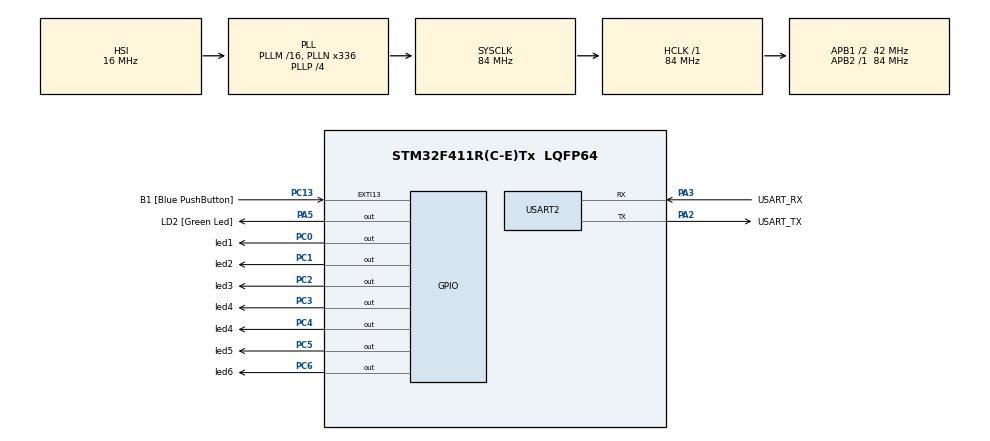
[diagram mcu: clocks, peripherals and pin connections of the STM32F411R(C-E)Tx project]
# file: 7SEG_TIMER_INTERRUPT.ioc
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Mcu.Family=STM32F4
Mcu.Name=STM32F411R(C-E)Tx
Mcu.Package=LQFP64
NVIC.PriorityGroup=NVIC_PRIORITYGROUP_0
NVIC.TIM2_IRQn=true\:0\:0\:false\:false\:true\:true\:true\:true
PA13.GPIO_Label=TMS
PA13.Mode=Serial_Wire
PA13.Signal=SYS_JTMS-SWDIO
PA14.GPIO_Label=TCK
PA14.Mode=Serial_Wire
PA14.Signal=SYS_JTCK-SWCLK
PA2.GPIO_Label=USART_TX
PA2.Mode=Asynchronous
PA2.Signal=USART2_TX
PA3.GPIO_Label=USART_RX
PA3.Mode=Asynchronous
PA3.Signal=USART2_RX
PA5.GPIO_Label=LD2 [Green Led]
PA5.Signal=GPIO_Output
PB3.GPIO_Label=SWO
PB3.Signal=SYS_JTDO-SWO
PC0.GPIO_Label=led1
PC0.Signal=GPIO_Output
PC1.GPIO_Label=led2
PC1.Signal=GPIO_Output
PC13-ANTI_TAMP.GPIO_Label=B1 [Blue PushButton]
PC13-ANTI_TAMP.GPIO_ModeDefaultEXTI=GPIO_MODE_IT_FALLING
PC13-ANTI_TAMP.Signal=GPXTI13
PC14-OSC32_IN.Mode=LSE-External-Oscillator
PC14-OSC32_IN.Signal=RCC_OSC32_IN
PC15-OSC32_OUT.Mode=LSE-External-Oscillator
PC15-OSC32_OUT.Signal=RCC_OSC32_OUT
PC2.GPIO_Label=led3
PC2.Signal=GPIO_Output
PC3.GPIO_Label=led4
PC3.Signal=GPIO_Output
PC4.GPIO_Label=led4
PC4.Signal=GPIO_Output
PC5.GPIO_Label=led5
PC5.Signal=GPIO_Output
PC6.GPIO_Label=led6
PC6.Signal=GPIO_Output
PH0\ -\ OSC_IN.Mode=HSE-External-Clock-Source
PH0\ -\ OSC_IN.Signal=RCC_OSC_IN
PH1\ -\ OSC_OUT.Mode=HSE-External-Clock-Source
PH1\ -\ OSC_OUT.Signal=RCC_OSC_OUT
ProjectManager.HeapSize=0x200
ProjectManager.StackSize=0x400
ProjectManager.TargetToolchain=STM32CubeIDE
RCC.48MHZClocksFreq_Value=84000000
RCC.AHBFreq_Value=84000000
RCC.APB1CLKDivider=RCC_HCLK_DIV2
RCC.APB1Freq_Value=42000000
RCC.APB1TimFreq_Value=84000000
RCC.APB2Freq_Value=84000000
RCC.APB2TimFreq_Value=84000000
RCC.CortexFreq_Value=84000000
RCC.FLatency-AdvancedSettings=FLASH_LATENCY_2
RCC.HCLKFreq_Value=84000000
RCC.HSE_VALUE=8000000
RCC.HSI_VALUE=16000000
RCC.PLLN=336
RCC.PLLP=RCC_PLLP_DIV4
RCC.SYSCLKFreq_VALUE=84000000
RCC.SYSCLKSource=RCC_SYSCLKSOURCE_PLLCLK
RCC.VCOOutputFreq_Value=336000000
USART2.VirtualMode=VM_ASYNC
VP_TIM2_VS_ClockSourceINT.Mode=Internal
board=NUCLEO-F411RE

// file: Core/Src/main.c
/* USER CODE BEGIN Header */
/**
  ******************************************************************************
  * @file           : main.c
  * @brief          : Main program body
  ******************************************************************************
  * @attention
  *
  * Copyright (c) 2024 STMicroelectronics.
  * All rights reserved.
  *
  * This software is licensed under terms that can be found in the LICENSE file
  * in the root directory of this software component.
  * If no LICENSE file comes with this software, it is provided AS-IS.
  *
  ******************************************************************************
  */
/* USER CODE END Header */
#include "main.h"

TIM_HandleTypeDef htim2;
UART_HandleTypeDef huart2;

/* USER CODE BEGIN PV */
volatile uint8_t current_number = 0;
static volatile uint32_t last_button_press_time = 0; // For debouncing
static const uint32_t DEBOUNCE_DELAY = 200; // 200 ms debounce delay

/* USER CODE END PV */

void SystemClock_Config(void);
static void MX_GPIO_Init(void);
static void MX_USART2_UART_Init(void);
static void MX_TIM2_Init(void);

/* USER CODE BEGIN 0 */

void display_number(uint8_t number) {
    // Adjust GPIO states to display the number on a 7-segment display
    // Update GPIO configuration here according to your hardware
	switch (number) {
	        case 0:
	            HAL_GPIO_WritePin(GPIOC, GPIO_PIN_0, RESET);
	            HAL_GPIO_WritePin(GPIOC, GPIO_PIN_1, RESET);
	            HAL_GPIO_WritePin(GPIOC, GPIO_PIN_2, RESET);
	            HAL_GPIO_WritePin(GPIOC, GPIO_PIN_3, RESET);
	            HAL_GPIO_WritePin(GPIOC, GPIO_PIN_4, RESET);
	            HAL_GPIO_WritePin(GPIOC, GPIO_PIN_5, RESET);
	            HAL_GPIO_WritePin(GPIOC, GPIO_PIN_6, SET);
	            break;
	        case 1:
	            HAL_GPIO_WritePin(GPIOC, GPIO_PIN_0, SET);
	            HAL_GPIO_WritePin(GPIOC, GPIO_PIN_1, RESET);
	            HAL_GPIO_WritePin(GPIOC, GPIO_PIN_2, RESET);
	            HAL_GPIO_WritePin(GPIOC, GPIO_PIN_3, SET);
	            HAL_GPIO_WritePin(GPIOC, GPIO_PIN_4, SET);
	            HAL_GPIO_WritePin(GPIOC, GPIO_PIN_5, SET);
	            HAL_GPIO_WritePin(GPIOC, GPIO_PIN_6, SET);
	            break;
	        case 2:
	            HAL_GPIO_WritePin(GPIOC, GPIO_PIN_0, RESET);
	            HAL_GPIO_WritePin(GPIOC, GPIO_PIN_1, RESET);
	            HAL_GPIO_WritePin(GPIOC, GPIO_PIN_2, SET);
	            HAL_GPIO_WritePin(GPIOC, GPIO_PIN_3, RESET);
	            HAL_GPIO_WritePin(GPIOC, GPIO_PIN_4, RESET);
	            HAL_GPIO_WritePin(GPIOC, GPIO_PIN_5, SET);
	            HAL_GPIO_WritePin(GPIOC, GPIO_PIN_6, RESET);
	            break;
	        case 3:
	            HAL_GPIO_WritePin(GPIOC, GPIO_PIN_0, RESET);
	            HAL_GPIO_WritePin(GPIOC, GPIO_PIN_1, RESET);
	            HAL_GPIO_WritePin(GPIOC, GPIO_PIN_2, RESET);
	            HAL_GPIO_WritePin(GPIOC, GPIO_PIN_3, RESET);
	            HAL_GPIO_WritePin(GPIOC, GPIO_PIN_4, SET);
	            HAL_GPIO_WritePin(GPIOC, GPIO_PIN_5, SET);
	            HAL_GPIO_WritePin(GPIOC, GPIO_PIN_6, RESET);
	            break;
	        case 4:
	            HAL_GPIO_WritePin(GPIOC, GPIO_PIN_0, SET);
	            HAL_GPIO_WritePin(GPIOC, GPIO_PIN_1, RESET);
	            HAL_GPIO_WritePin(GPIOC, GPIO_PIN_2, RESET);
	            HAL_GPIO_WritePin(GPIOC, GPIO_PIN_3, SET);
	            HAL_GPIO_WritePin(GPIOC, GPIO_PIN_4, SET);
	            HAL_GPIO_WritePin(GPIOC, GPIO_PIN_5, RESET);
	            HAL_GPIO_WritePin(GPIOC, GPIO_PIN_6, RESET);
	            break;
	        case 5:
	            HAL_GPIO_WritePin(GPIOC, GPIO_PIN_0, RESET);
	            HAL_GPIO_WritePin(GPIOC, GPIO_PIN_1, SET);
	            HAL_GPIO_WritePin(GPIOC, GPIO_PIN_2, RESET);
	            HAL_GPIO_WritePin(GPIOC, GPIO_PIN_3, RESET);
	            HAL_GPIO_WritePin(GPIOC, GPIO_PIN_4, SET);
	            HAL_GPIO_WritePin(GPIOC, GPIO_PIN_5, RESET);
	            HAL_GPIO_WritePin(GPIOC, GPIO_PIN_6, RESET);
	            break;
	        case 6:
	            HAL_GPIO_WritePin(GPIOC, GPIO_PIN_0, RESET);
	            HAL_GPIO_WritePin(GPIOC, GPIO_PIN_1, SET);
	            HAL_GPIO_WritePin(GPIOC, GPIO_PIN_2, RESET);
	            HAL_GPIO_WritePin(GPIOC, GPIO_PIN_3, RESET);
	            HAL_GPIO_WritePin(GPIOC, GPIO_PIN_4, RESET);
	            HAL_GPIO_WritePin(GPIOC, GPIO_PIN_5, RESET);
	            HAL_GPIO_WritePin(GPIOC, GPIO_PIN_6, RESET);
	            break;
	        case 7:
	            HAL_GPIO_WritePin(GPIOC, GPIO_PIN_0, RESET);
	            HAL_GPIO_WritePin(GPIOC, GPIO_PIN_1, RESET);
	            HAL_GPIO_WritePin(GPIOC, GPIO_PIN_2, RESET);
	            HAL_GPIO_WritePin(GPIOC, GPIO_PIN_3, SET);
	            HAL_GPIO_WritePin(GPIOC, GPIO_PIN_4, SET);
	            HAL_GPIO_WritePin(GPIOC, GPIO_PIN_5, SET);
	            HAL_GPIO_WritePin(GPIOC, GPIO_PIN_6, SET);
	            break;
	        case 8:
	            HAL_GPIO_WritePin(GPIOC, GPIO_PIN_0, RESET);
	            HAL_GPIO_WritePin(GPIOC, GPIO_PIN_1, RESET);
	            HAL_GPIO_WritePin(GPIOC, GPIO_PIN_2, RESET);
	            HAL_GPIO_WritePin(GPIOC, GPIO_PIN_3, RESET);
	            HAL_GPIO_WritePin(GPIOC, GPIO_PIN_4, RESET);
	            HAL_GPIO_WritePin(GPIOC, GPIO_PIN_5, RESET);
	            HAL_GPIO_WritePin(GPIOC, GPIO_PIN_6, RESET);
	            break;
	        case 9:
	            HAL_GPIO_WritePin(GPIOC, GPIO_PIN_0, RESET);
	            HAL_GPIO_WritePin(GPIOC, GPIO_PIN_1, RESET);
	            HAL_GPIO_WritePin(GPIOC, GPIO_PIN_2, RESET);
	            HAL_GPIO_WritePin(GPIOC, GPIO_PIN_3, RESET);
	            HAL_GPIO_WritePin(GPIOC, GPIO_PIN_4, SET);
	            HAL_GPIO_WritePin(GPIOC, GPIO_PIN_5, RESET);
	            HAL_GPIO_WritePin(GPIOC, GPIO_PIN_6, RESET);
	            break;
    }
}

/* USER CODE END 0 */

int main(void)
{

  /* MCU Configuration--------------------------------------------------------*/

  /* Reset of all peripherals, Initializes the Flash interface and the Systick. */
  HAL_Init();

  /* Configure the system clock */
  SystemClock_Config();

  /* Initialize all configured peripherals */
  MX_GPIO_Init();
  MX_USART2_UART_Init();
  MX_TIM2_Init();

  /* Start Timer 2 in interrupt mode */
  HAL_TIM_Base_Start_IT(&htim2);

  /* Infinite loop */
  while (1)
  {

  }
}

/* USER CODE BEGIN 4 */

/**
  * @brief This function is executed when the timer period elapses.
  * @param htim: TIM handle pointer
  */
void HAL_TIM_PeriodElapsedCallback(TIM_HandleTypeDef *htim) {
    if (htim->Instance == TIM2) {
        // Update or handle timer interrupt logic
        // Example: Toggle LED or update display number
        current_number = (current_number + 1) % 10;  // Increment and wrap around
        display_number(current_number);
    }
}

/**
  * @brief This function is executed when an external interrupt occurs.
  * @param GPIO_Pin: GPIO pin number
  */
void HAL_GPIO_EXTI_Callback(uint16_t GPIO_Pin) {
    if (GPIO_Pin == GPIO_PIN_13) {
        uint32_t current_time = HAL_GetTick();
        if (current_time - last_button_press_time > DEBOUNCE_DELAY) {
            last_button_press_time = current_time;
            current_number = (current_number + 1) % 10;
            display_number(current_number);
        }
    }
}

/* USER CODE END 4 */

void SystemClock_Config(void)
{
  RCC_OscInitTypeDef RCC_OscInitStruct = {0};
  RCC_ClkInitTypeDef RCC_ClkInitStruct = {0};

  /** Configure the main internal regulator output voltage
  */
  __HAL_RCC_PWR_CLK_ENABLE();
  __HAL_PWR_VOLTAGESCALING_CONFIG(PWR_REGULATOR_VOLTAGE_SCALE1);

  /** Initializes the RCC Oscillators according to the specified parameters
  * in the RCC_OscInitTypeDef structure.
  */
  RCC_OscInitStruct.OscillatorType = RCC_OSCILLATORTYPE_HSI;
  RCC_OscInitStruct.HSIState = RCC_HSI_ON;
  RCC_OscInitStruct.HSICalibrationValue = RCC_HSICALIBRATION_DEFAULT;
  RCC_OscInitStruct.PLL.PLLState = RCC_PLL_ON;
  RCC_OscInitStruct.PLL.PLLSource = RCC_PLLSOURCE_HSI;
  RCC_OscInitStruct.PLL.PLLM = 16;
  RCC_OscInitStruct.PLL.PLLN = 336;
  RCC_OscInitStruct.PLL.PLLP = RCC_PLLP_DIV4;
  RCC_OscInitStruct.PLL.PLLQ = 4;
  if (HAL_RCC_OscConfig(&RCC_OscInitStruct) != HAL_OK)
  {
    Error_Handler();
  }

  /** Initializes the CPU, AHB and APB buses clocks
  */
  RCC_ClkInitStruct.ClockType = RCC_CLOCKTYPE_HCLK|RCC_CLOCKTYPE_SYSCLK
                              |RCC_CLOCKTYPE_PCLK1|RCC_CLOCKTYPE_PCLK2;
  RCC_ClkInitStruct.SYSCLKSource = RCC_SYSCLKSOURCE_PLLCLK;
  RCC_ClkInitStruct.AHBCLKDivider = RCC_SYSCLK_DIV1;
  RCC_ClkInitStruct.APB1CLKDivider = RCC_HCLK_DIV2;
  RCC_ClkInitStruct.APB2CLKDivider = RCC_HCLK_DIV1;

  if (HAL_RCC_ClockConfig(&RCC_ClkInitStruct, FLASH_LATENCY_5) != HAL_OK)
  {
    Error_Handler();
  }
}

static void MX_TIM2_Init(void)
{
  TIM_ClockConfigTypeDef sClockSourceConfig = {0};
  TIM_MasterConfigTypeDef sMasterConfig = {0};

  htim2.Instance = TIM2;
  htim2.Init.Prescaler = 8399; // Adjust this value based on your clock settings
  htim2.Init.CounterMode = TIM_COUNTERMODE_UP;
  htim2.Init.Period = 9999; // 1 second interval with 84 MHz clock
  htim2.Init.ClockDivision = TIM_CLOCKDIVISION_DIV1;
  htim2.Init.AutoReloadPreload = TIM_AUTORELOAD_PRELOAD_DISABLE;
  if (HAL_TIM_Base_Init(&htim2) != HAL_OK)
  {
    Error_Handler();
  }

  sClockSourceConfig.ClockSource = TIM_CLOCKSOURCE_INTERNAL;
  if (HAL_TIM_ConfigClockSource(&htim2, &sClockSourceConfig) != HAL_OK)
  {
    Error_Handler();
  }

  if (HAL_TIMEx_MasterConfigSynchronization(&htim2, &sMasterConfig) != HAL_OK)
  {
    Error_Handler();
  }
}

static void MX_USART2_UART_Init(void)
{
  huart2.Instance = USART2;
  huart2.Init.BaudRate = 115200;
  huart2.Init.WordLength = UART_WORDLENGTH_8B;
  huart2.Init.StopBits = UART_STOPBITS_1;
  huart2.Init.Parity = UART_PARITY_NONE;
  huart2.Init.Mode = UART_MODE_TX_RX;
  huart2.Init.HwFlowCtl = UART_HWCONTROL_NONE;
  huart2.Init.OverSampling = UART_OVERSAMPLING_16;
  if (HAL_UART_Init(&huart2) != HAL_OK)
  {
    Error_Handler();
  }
}

static void MX_GPIO_Init(void)
{
  GPIO_InitTypeDef GPIO_InitStruct = {0};

  /* GPIO Ports Clock Enable */
  __HAL_RCC_GPIOC_CLK_ENABLE();
  __HAL_RCC_GPIOA_CLK_ENABLE();
  __HAL_RCC_GPIOB_CLK_ENABLE();

  /* Configure GPIO pin : PC13 (Button) */
  GPIO_InitStruct.Pin = GPIO_PIN_13;
  GPIO_InitStruct.Mode = GPIO_MODE_IT_FALLING;
  GPIO_InitStruct.Pull = GPIO_NOPULL;
  HAL_GPIO_Init(GPIOC, &GPIO_InitStruct);

  /* Configure GPIO pins for 7-segment display */
  GPIO_InitStruct.Pin = GPIO_PIN_0 | GPIO_PIN_1 | GPIO_PIN_2 | GPIO_PIN_3 | GPIO_PIN_4 | GPIO_PIN_5 | GPIO_PIN_6;
  GPIO_InitStruct.Mode = GPIO_MODE_OUTPUT_PP;
  GPIO_InitStruct.Pull = GPIO_NOPULL;
  GPIO_InitStruct.Speed = GPIO_SPEED_FREQ_LOW;
  HAL_GPIO_Init(GPIOC, &GPIO_InitStruct);

  /* EXTI interrupt init*/
  HAL_NVIC_SetPriority(EXTI15_10_IRQn, 0, 0);
  HAL_NVIC_EnableIRQ(EXTI15_10_IRQn);
}

void Error_Handler(void)
{
  __disable_irq();
  while (1)
  {
    // Optional: Toggle an LED or send error message via UART
  }
}
